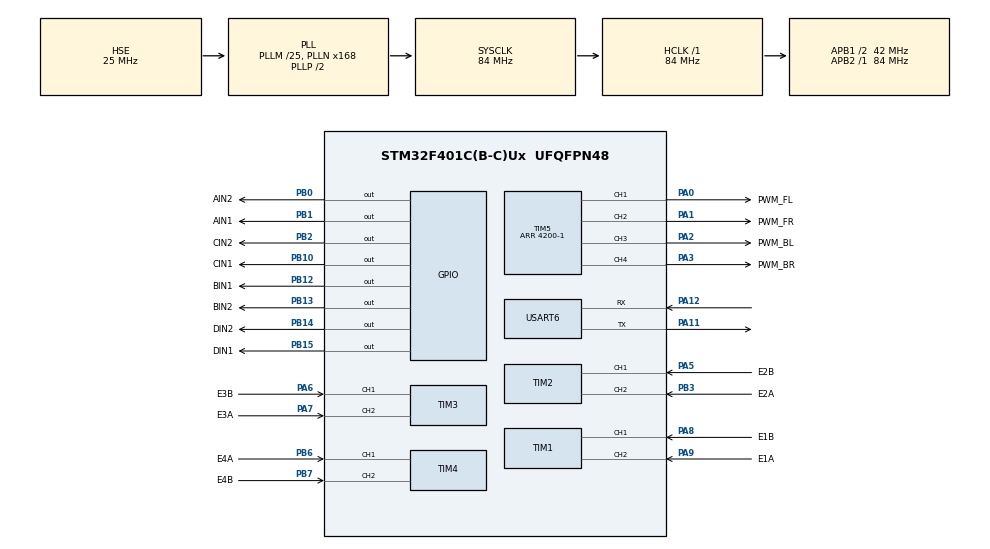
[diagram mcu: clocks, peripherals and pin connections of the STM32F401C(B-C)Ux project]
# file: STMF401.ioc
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FREERTOS.Tasks01=defaultTask,24,128,StartDefaultTask,Default,NULL,Dynamic,NULL,NULL
Mcu.Family=STM32F4
Mcu.Name=STM32F401C(B-C)Ux
Mcu.Package=UFQFPN48
NVIC.PriorityGroup=NVIC_PRIORITYGROUP_4
NVIC.TIM1_BRK_TIM9_IRQn=true\:15\:0\:false\:false\:true\:false\:false\:true\:true
NVIC.TIM1_UP_TIM10_IRQn=true\:5\:0\:false\:false\:true\:true\:true\:true\:true
NVIC.TimeBase=TIM1_BRK_TIM9_IRQn
NVIC.TimeBaseIP=TIM9
NVIC.USART6_IRQn=true\:5\:0\:false\:false\:true\:true\:true\:true\:true
PA0-WKUP.GPIO_Label=PWM_FL
PA0-WKUP.Signal=S_TIM5_CH1
PA1.GPIO_Label=PWM_FR
PA1.Signal=S_TIM5_CH2
PA11.Mode=Asynchronous
PA11.Signal=USART6_TX
PA12.Mode=Asynchronous
PA12.Signal=USART6_RX
PA13.Mode=Serial_Wire
PA13.Signal=SYS_JTMS-SWDIO
PA14.Mode=Serial_Wire
PA14.Signal=SYS_JTCK-SWCLK
PA2.GPIO_Label=PWM_BL
PA2.Signal=S_TIM5_CH3
PA3.GPIO_Label=PWM_BR
PA3.Signal=S_TIM5_CH4
PA5.GPIO_Label=E2B
PA5.Signal=S_TIM2_CH1_ETR
PA6.GPIO_Label=E3B
PA6.Signal=S_TIM3_CH1
PA7.GPIO_Label=E3A
PA7.Signal=S_TIM3_CH2
PA8.GPIO_Label=E1B
PA8.Signal=S_TIM1_CH1
PA9.GPIO_Label=E1A
PA9.Signal=S_TIM1_CH2
PB0.GPIO_Label=AIN2
PB0.Signal=GPIO_Output
PB1.GPIO_Label=AIN1
PB1.Signal=GPIO_Output
PB10.GPIO_Label=CIN1
PB10.Signal=GPIO_Output
PB12.GPIO_Label=BIN1
PB12.Signal=GPIO_Output
PB13.GPIO_Label=BIN2
PB13.Signal=GPIO_Output
PB14.GPIO_Label=DIN2
PB14.Signal=GPIO_Output
PB15.GPIO_Label=DIN1
PB15.Signal=GPIO_Output
PB2.GPIO_Label=CIN2
PB2.Signal=GPIO_Output
PB3.GPIO_Label=E2A
PB3.Signal=S_TIM2_CH2
PB6.GPIO_Label=E4A
PB6.Signal=S_TIM4_CH1
PB7.GPIO_Label=E4B
PB7.Signal=S_TIM4_CH2
PH0\ -\ OSC_IN.Mode=HSE-External-Oscillator
PH0\ -\ OSC_IN.Signal=RCC_OSC_IN
PH1\ -\ OSC_OUT.Mode=HSE-External-Oscillator
PH1\ -\ OSC_OUT.Signal=RCC_OSC_OUT
ProjectManager.HeapSize=0x200
ProjectManager.StackSize=0x400
ProjectManager.TargetToolchain=Makefile
RCC.48MHZClocksFreq_Value=42000000
RCC.AHBFreq_Value=84000000
RCC.APB1CLKDivider=RCC_HCLK_DIV2
RCC.APB1Freq_Value=42000000
RCC.APB1TimFreq_Value=84000000
RCC.APB2Freq_Value=84000000
RCC.APB2TimFreq_Value=84000000
RCC.CortexFreq_Value=84000000
RCC.HCLKFreq_Value=84000000
RCC.HSE_VALUE=25000000
RCC.HSI_VALUE=16000000
RCC.LSE_VALUE=32768
RCC.PLLM=25
RCC.PLLN=168
RCC.PLLSourceVirtual=RCC_PLLSOURCE_HSE
RCC.SYSCLKFreq_VALUE=84000000
RCC.SYSCLKSource=RCC_SYSCLKSOURCE_PLLCLK
RCC.VCOOutputFreq_Value=168000000
SH.S_TIM1_CH1.0=TIM1_CH1,Encoder_Interface
SH.S_TIM1_CH2.0=TIM1_CH2,Encoder_Interface
SH.S_TIM2_CH1_ETR.0=TIM2_CH1,Encoder_Interface
SH.S_TIM2_CH2.0=TIM2_CH2,Encoder_Interface
SH.S_TIM3_CH1.0=TIM3_CH1,Encoder_Interface
SH.S_TIM3_CH2.0=TIM3_CH2,Encoder_Interface
SH.S_TIM4_CH1.0=TIM4_CH1,Encoder_Interface
SH.S_TIM4_CH2.0=TIM4_CH2,Encoder_Interface
SH.S_TIM5_CH1.0=TIM5_CH1,PWM Generation1 CH1
SH.S_TIM5_CH2.0=TIM5_CH2,PWM Generation2 CH2
SH.S_TIM5_CH3.0=TIM5_CH3,PWM Generation3 CH3
SH.S_TIM5_CH4.0=TIM5_CH4,PWM Generation4 CH4
TIM1.EncoderMode=TIM_ENCODERMODE_TI12
TIM10.Period=10000-1
TIM10.Prescaler=84-1
TIM2.EncoderMode=TIM_ENCODERMODE_TI12
TIM3.EncoderMode=TIM_ENCODERMODE_TI12
TIM4.EncoderMode=TIM_ENCODERMODE_TI12
TIM5.Channel-PWM\ Generation1\ CH1=TIM_CHANNEL_1
TIM5.Channel-PWM\ Generation2\ CH2=TIM_CHANNEL_2
TIM5.Channel-PWM\ Generation3\ CH3=TIM_CHANNEL_3
TIM5.Channel-PWM\ Generation4\ CH4=TIM_CHANNEL_4
TIM5.Period=4200-1
USART6.VirtualMode=VM_ASYNC
VP_FREERTOS_VS_CMSIS_V2.Mode=CMSIS_V2
VP_SYS_VS_tim9.Mode=TIM9
VP_TIM10_VS_ClockSourceINT.Mode=Enable_Timer
board=custom

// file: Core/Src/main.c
/* USER CODE BEGIN Header */
/**
  ******************************************************************************
  * @file           : main.c
  * @brief          : Main program body
  ******************************************************************************
  * @attention
  *
  * Copyright (c) 2026 STMicroelectronics.
  * All rights reserved.
  *
  * This software is licensed under terms that can be found in the LICENSE file
  * in the root directory of this software component.
  * If no LICENSE file comes with this software, it is provided AS-IS.
  *
  ******************************************************************************
  */
/* USER CODE END Header */
#include "main.h"
#include "cmsis_os.h"
#include "tim.h"
#include "usart.h"
#include "gpio.h"

/* USER CODE BEGIN Includes */
#include "app_task.h"

/* USER CODE END Includes */

void SystemClock_Config(void);
void MX_FREERTOS_Init(void);

int main(void)
{

  /* MCU Configuration--------------------------------------------------------*/

  /* Reset of all peripherals, Initializes the Flash interface and the Systick. */
  HAL_Init();

  /* Configure the system clock */
  SystemClock_Config();

  /* Initialize all configured peripherals */
  MX_GPIO_Init();
  MX_TIM1_Init();
  MX_TIM2_Init();
  MX_TIM3_Init();
  MX_TIM4_Init();
  MX_TIM5_Init();
  MX_USART6_UART_Init();
  MX_TIM10_Init();
  /* USER CODE BEGIN 2 */
  User_Init();

  /* USER CODE END 2 */

  /* Init scheduler */
  osKernelInitialize();  /* Call init function for freertos objects (in cmsis_os2.c) */
  MX_FREERTOS_Init();

  /* Start scheduler */
  osKernelStart();

  /* We should never get here as control is now taken by the scheduler */

  /* Infinite loop */
  while (1)
  {

  }
}

void SystemClock_Config(void)
{
  RCC_OscInitTypeDef RCC_OscInitStruct = {0};
  RCC_ClkInitTypeDef RCC_ClkInitStruct = {0};

  /** Configure the main internal regulator output voltage
  */
  __HAL_RCC_PWR_CLK_ENABLE();
  __HAL_PWR_VOLTAGESCALING_CONFIG(PWR_REGULATOR_VOLTAGE_SCALE2);

  /** Initializes the RCC Oscillators according to the specified parameters
  * in the RCC_OscInitTypeDef structure.
  */
  RCC_OscInitStruct.OscillatorType = RCC_OSCILLATORTYPE_HSE;
  RCC_OscInitStruct.HSEState = RCC_HSE_ON;
  RCC_OscInitStruct.PLL.PLLState = RCC_PLL_ON;
  RCC_OscInitStruct.PLL.PLLSource = RCC_PLLSOURCE_HSE;
  RCC_OscInitStruct.PLL.PLLM = 25;
  RCC_OscInitStruct.PLL.PLLN = 168;
  RCC_OscInitStruct.PLL.PLLP = RCC_PLLP_DIV2;
  RCC_OscInitStruct.PLL.PLLQ = 4;
  if (HAL_RCC_OscConfig(&RCC_OscInitStruct) != HAL_OK)
  {
    Error_Handler();
  }

  /** Initializes the CPU, AHB and APB buses clocks
  */
  RCC_ClkInitStruct.ClockType = RCC_CLOCKTYPE_HCLK|RCC_CLOCKTYPE_SYSCLK
                              |RCC_CLOCKTYPE_PCLK1|RCC_CLOCKTYPE_PCLK2;
  RCC_ClkInitStruct.SYSCLKSource = RCC_SYSCLKSOURCE_PLLCLK;
  RCC_ClkInitStruct.AHBCLKDivider = RCC_SYSCLK_DIV1;
  RCC_ClkInitStruct.APB1CLKDivider = RCC_HCLK_DIV2;
  RCC_ClkInitStruct.APB2CLKDivider = RCC_HCLK_DIV1;

  if (HAL_RCC_ClockConfig(&RCC_ClkInitStruct, FLASH_LATENCY_2) != HAL_OK)
  {
    Error_Handler();
  }
}

void HAL_TIM_PeriodElapsedCallback(TIM_HandleTypeDef *htim)
{
  if (htim->Instance == TIM9)
  {
    HAL_IncTick();
  }
  /* USER CODE BEGIN Callback 1 */
if (htim->Instance == TIM10)
  {
    App_Timer100HZISR();
  }
  /* USER CODE END Callback 1 */
}

void Error_Handler(void)
{
  /* USER CODE BEGIN Error_Handler_Debug */
  __disable_irq();

  /* A fatal software error must not leave the H-bridge at its last command. */
  if (__HAL_RCC_TIM5_IS_CLK_ENABLED())
  {
    TIM5->CCR1 = 0u;
    TIM5->CCR2 = 0u;
    TIM5->CCR3 = 0u;
    TIM5->CCR4 = 0u;
  }

  if (__HAL_RCC_GPIOB_IS_CLK_ENABLED())
  {
    GPIOB->BSRR = ((uint32_t)(AIN1_Pin | AIN2_Pin |
                              BIN1_Pin | BIN2_Pin |
                              CIN1_Pin | CIN2_Pin |
                              DIN1_Pin | DIN2_Pin) << 16u);
  }

  while (1)
  {
  }
  /* USER CODE END Error_Handler_Debug */
}

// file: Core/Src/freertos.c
/* USER CODE BEGIN Header */
/**
  ******************************************************************************
  * File Name          : freertos.c
  * Description        : Code for freertos applications
  ******************************************************************************
  * @attention
  *
  * Copyright (c) 2026 STMicroelectronics.
  * All rights reserved.
  *
  * This software is licensed under terms that can be found in the LICENSE file
  * in the root directory of this software component.
  * If no LICENSE file comes with this software, it is provided AS-IS.
  *
  ******************************************************************************
  */
/* USER CODE END Header */

#include "FreeRTOS.h"
#include "task.h"
#include "main.h"
#include "cmsis_os.h"

/* USER CODE BEGIN Includes */
#include "app_task.h"

/* USER CODE END Includes */

/* Definitions for defaultTask */
osThreadId_t defaultTaskHandle;
const osThreadAttr_t defaultTask_attributes = {
  .name = "defaultTask",
  .stack_size = 128 * 4,
  .priority = (osPriority_t) osPriorityNormal,
};

void StartDefaultTask(void *argument);

void MX_FREERTOS_Init(void); /* (MISRA C 2004 rule 8.1) */

void MX_FREERTOS_Init(void) {
  /* USER CODE BEGIN Init */
  APP_FREERTOS_Init();

  /* USER CODE END Init */

  /* Create the thread(s) */
  /* creation of defaultTask */
  defaultTaskHandle = osThreadNew(StartDefaultTask, NULL, &defaultTask_attributes);

}

void StartDefaultTask(void *argument)
{
  for(;;)
  {
    osDelay(1);
  }
}
